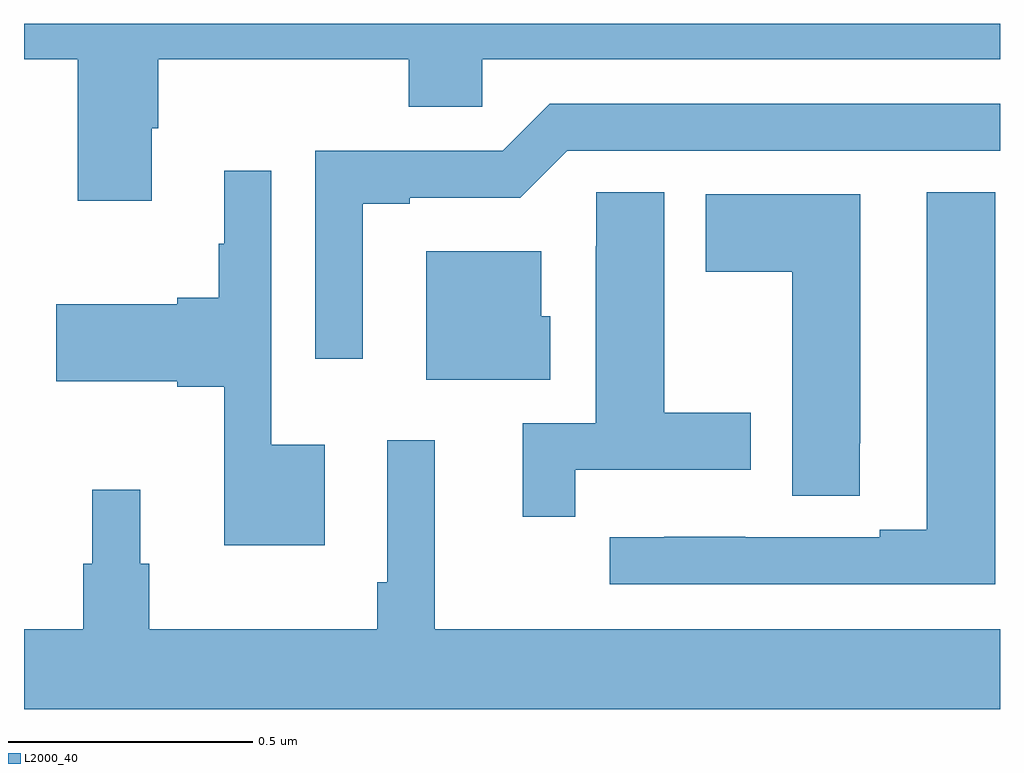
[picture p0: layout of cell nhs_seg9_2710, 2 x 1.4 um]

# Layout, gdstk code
import gdstk
lib = gdstk.Library(unit=1e-6, precision=1e-09)
def P(c, l, *ps):  # polygons
    for p in ps: c.add(gdstk.Polygon(p, *l))
L2000_40 = (2000, 40)

nhs_seg9_2710 = lib.new_cell('nhs_seg9_2710')
P(nhs_seg9_2710, L2000_40, [(144.262,1188.286),(144.275,1188.286),(144.275,1188.428),(144.788,1188.428),(144.788,1188.33),(144.939,1188.33),(144.939,1188.428),(146,1188.428),(146,1188.5),(144,1188.5),(144,1188.428),(144.11,1188.428),(144.11,1188.138),(144.262,1188.138)],
  [(144.694,1188.132),(144.79,1188.132),(144.79,1188.144),(145.017,1188.144),(145.113,1188.24),(146,1188.24),(146,1188.336),(145.077,1188.336),(144.981,1188.24),(144.597,1188.24),(144.597,1187.814),(144.694,1187.814)],
  [(144.616,1187.638),(144.507,1187.638),(144.507,1188.199),(144.41,1188.199),(144.41,1188.05),(144.399,1188.05),(144.399,1187.939),(144.314,1187.939),(144.314,1187.926),(144.066,1187.926),(144.066,1187.768),(144.314,1187.768),(144.314,1187.756),(144.41,1187.756),(144.41,1187.432),(144.616,1187.432)],
  [(145.99,1188.155),(145.85,1188.155),(145.85,1187.463),(145.754,1187.463),(145.754,1187.448),(145.478,1187.448),(145.478,1187.449),(145.312,1187.449),(145.312,1187.448),(145.2,1187.448),(145.2,1187.352),(145.99,1187.352)],
  [(145.13,1187.586),(145.489,1187.586),(145.489,1187.703),(145.312,1187.703),(145.312,1188.155),(145.173,1188.155),(145.173,1188.044),(145.172,1188.044),(145.172,1187.682),(145.022,1187.682),(145.022,1187.49),(145.13,1187.49)],
  [(145.713,1187.641),(145.714,1187.641),(145.714,1188.151),(145.397,1188.151),(145.397,1187.992),(145.574,1187.992),(145.574,1187.533),(145.713,1187.533)],
  [(145.078,1187.901),(145.06,1187.901),(145.06,1188.034),(144.824,1188.034),(144.824,1187.771),(145.078,1187.771)],
  [(146,1187.26),(144.842,1187.26),(144.842,1187.647),(144.744,1187.647),(144.744,1187.356),(144.724,1187.356),(144.724,1187.26),(144.257,1187.26),(144.257,1187.394),(144.238,1187.394),(144.238,1187.545),(144.14,1187.545),(144.14,1187.394),(144.121,1187.394),(144.121,1187.26),(144,1187.26),(144,1187.096),(146,1187.096)])

lib.write_gds('nhs_seg9_2710.gds')
